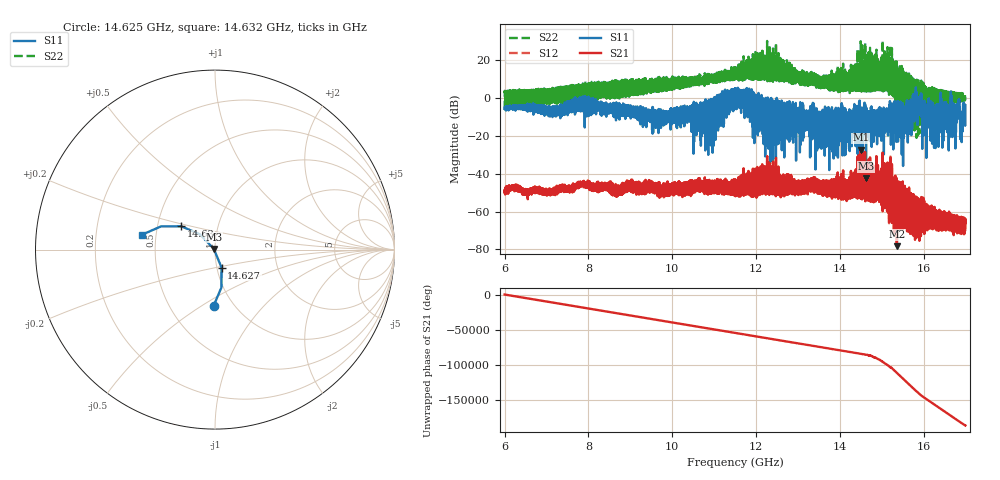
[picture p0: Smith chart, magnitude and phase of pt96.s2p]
#  HZ  S  RI  R  50.00
! Rohde & Schwarz Vector Network Analyzer
! Rohde-Schwarz,ZNA67-2Port,1332450062101215,3.01
! Created: UTC 10/19/2026, 11:32:23 AM
! freq[Hz]  re:S11  im:S11  re:S21  im:S21  re:S12  im:S12  re:S22  im:S22
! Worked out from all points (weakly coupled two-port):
!   11001 points, 6 GHz to 17 GHz, reference 50 ohm
!   highest |S21| = -27.22 dB at 14.502 GHz (marker M1); lowest = -78.3 dB at 15.365 GHz (marker M2)
!   lowest |S11| = -42.5 dB at 14.628 GHz (marker M3), VSWR 1.02, Z = 49.4 + j0.399 ohm
!   |S11| at or under -10 dB: 13.46861 GHz to 13.49469 GHz (26.08 MHz wide, 0.193 % of centre); 13.60942 GHz to 13.6338 GHz (24.38 MHz wide, 0.179 % of centre); 13.92231 GHz to 13.94849 GHz (26.18 MHz wide, 0.188 % of centre) (the widest 3 of 518)
!   |S22| runs from -21.0 to 30.5 dB; largest |S21 - S12| = 0.0022
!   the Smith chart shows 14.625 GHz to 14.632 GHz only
!   S11 on the Smith chart (normalised r, x): 14.625 GHz: 0.81, -0.56; 14.627 GHz: 1.05, -0.21; 14.63 GHz: 0.66, +0.18; 14.632 GHz: 0.42, +0.08
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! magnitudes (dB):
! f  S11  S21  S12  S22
! 6 GHz  -5.7  -49.9  -49.9  2.6
! 7.834 GHz  -3.3  -45.0  -44.9  6.9
! 9.667 GHz  -6.2  -46.3  -46.4  11.1
! 10.867 GHz  -1.7  -49.8  -49.9  8.2
! 11.5 GHz  5.0  -49.2  -49.1  12.2
! 12.436 GHz  -2.9  -44.2  -44.4  16.6
! 13.334 GHz  -12.4  -46.5  -46.4  8.8
! 13.803 GHz  -6.9  -51.0  -51.0  5.2
! 14.502 GHz  -35.0  -27.2  -27.2  30.1
! 14.625 GHz  -10.1  -48.8  -49.1  7.2
! 14.627 GHz  -19.4  -41.7  -41.5  15.5
! 14.628 GHz  -42.5  -51.7  -51.4  7.7
! 14.63 GHz  -12.8  -42.3  -42.2  15.4
! 14.632 GHz  -7.7  -49.7  -49.7  7.5
! 15.167 GHz  -14.3  -56.9  -57.1  6.4
! 15.365 GHz  -20.1  -78.3  -78.1  -0.2
! 15.677 GHz  -2.3  -54.1  -54.6  6.6
! 15.798 GHz  -5.9  -75.0  -74.8  -16.8
! 16.037 GHz  -5.1  -60.2  -60.4  3.4
! 16.689 GHz  -16.6  -63.4  -63.8  1.3
! 16.913 GHz  -18.3  -64.4  -64.4  1.8
! 17 GHz  -3.7  -66.2  -66.0  1.6
